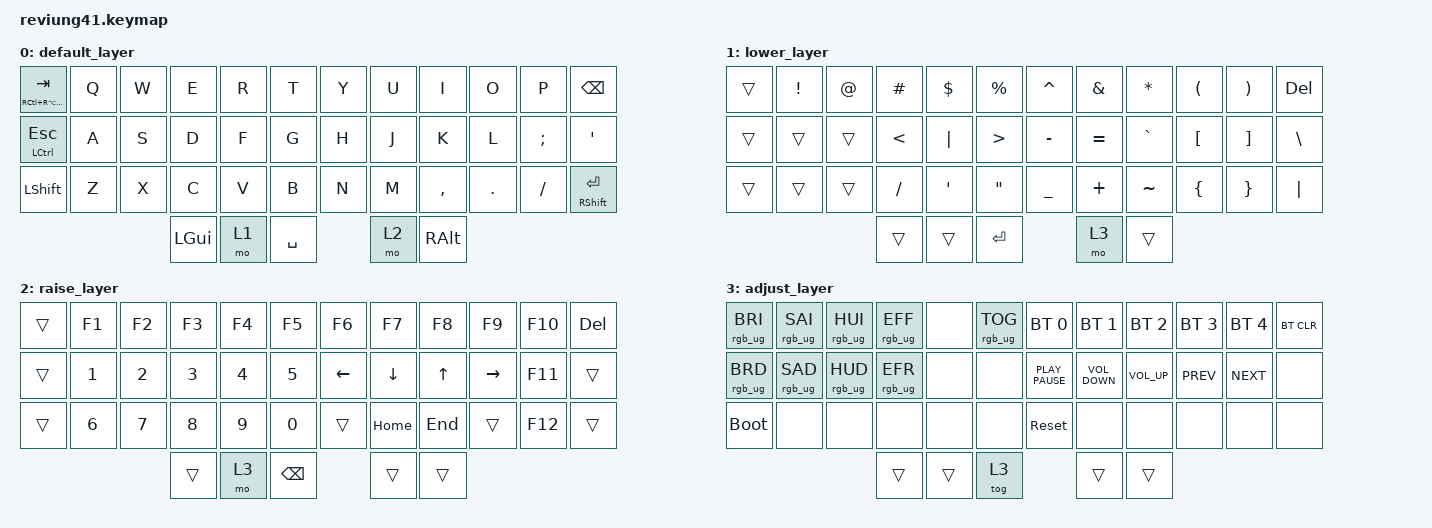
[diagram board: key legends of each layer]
/*
 * Copyright (c) 2020 The ZMK Contributors
 *
 * SPDX-License-Identifier: MIT
 */

#include <behaviors.dtsi>
#include <dt-bindings/zmk/bt.h>
#include <dt-bindings/zmk/keys.h>
#include <dt-bindings/zmk/keys.h>
#include <dt-bindings/zmk/rgb.h>

#define RHYP        RC(RA(RGUI))

/ {
    keymap {
        compatible = "zmk,keymap";

        default_layer {
            // ------------------------------------------------------------------------------------------
            // | TAB(HYP)  |  Q  |  W  |  E  |  R  |  T  |   |  Y  |  U   |  I  |  O  |  P  |   BKSP    |
            // | CTRL(ESC) |  A  |  S  |  D  |  F  |  G  |   |  H  |  J   |  K  |  L  |  ;  |    '      |
            // |   SHFT    |  Z  |  X  |  C  |  V  |  B  |   |  N  |  M   |  ,  |  .  |  /  | SHFT(RET) |
            //                             | LGUI | LWR | SPC | RSE  | ALT |

            bindings = <
&mt RHYP TAB      &kp Q  &kp W     &kp E  &kp R  &kp T             &kp Y  &kp U      &kp I    &kp O     &kp P       &kp BSPC
&mt LCTRL ESCAPE  &kp A  &kp S     &kp D  &kp F  &kp G             &kp H  &kp J      &kp K    &kp L  &kp SEMI        &kp SQT
       &kp LSHFT  &kp Z  &kp X     &kp C  &kp V  &kp B             &kp N  &kp M  &kp COMMA  &kp DOT  &kp FSLH  &mt RSHFT RET
                                &kp LGUI  &mo 1         &kp SPACE         &mo 2   &kp RALT
            >;
        };

        lower_layer {
            // ----------------------------------------------------------------------------
            // |    |  !  |  @  |  #  |  $  |  %  |   |  ^  |  &  |  *  |  (  |  )  | DEL |
            // |    |     |     |  <  | "|" |  >  |   |  -  |  =  |  `  |  [  |  ]  |  \  |
            // |    |     |     |  /  |  '  |  "  |   |  _  |  +  |  ~  |  {  |  }  |  |  |
            //                       |     |     | RET | ADJ |     |

            bindings = <
&trans  &kp EXCL  &kp AT   &kp HASH          &kp DLLR          &kp PRCNT           &kp CARET   &kp AMPS  &kp ASTRK          &kp LPAR           &kp RPAR   &kp DEL
&trans    &trans  &trans     &kp LT          &kp PIPE             &kp GT           &kp MINUS  &kp EQUAL  &kp GRAVE  &kp LEFT_BRACKET  &kp RIGHT_BRACKET  &kp BSLH
&trans    &trans  &trans  &kp SLASH  &kp SINGLE_QUOTE  &kp DOUBLE_QUOTES           &kp UNDER   &kp PLUS  &kp TILDE    &kp LEFT_BRACE    &kp RIGHT_BRACE  &kp PIPE
                             &trans            &trans                     &kp RET                 &mo 3     &trans
            >;
        };

        raise_layer {
            // ----------------------------------------------------------------------------
            // |    |  F1 |  F2 |  F3 |  F4 | F5  |   | F6  |  F7 |  F8 |  F9 | F10 | DEL |
            // |    |  1  |  2  |  3  |  4  |  5  |   | LFT | DWN | UP  | RGT | F11 |     |
            // |    |  6  |  7  |  8  |  9  |  0  |   |     | HOME| END |     | F12 |     |
            //                       |     | ADJ | BKSP |    |     |

            bindings = <
&trans        &kp F1        &kp F2        &kp F3        &kp F4        &kp F5              &kp F6    &kp F7    &kp F8     &kp F9  &kp F10  &kp DEL
&trans  &kp NUMBER_1  &kp NUMBER_2  &kp NUMBER_3  &kp NUMBER_4  &kp NUMBER_5            &kp LEFT  &kp DOWN    &kp UP  &kp RIGHT  &kp F11   &trans
&trans  &kp NUMBER_6  &kp NUMBER_7  &kp NUMBER_8  &kp NUMBER_9  &kp NUMBER_0              &trans  &kp HOME   &kp END     &trans  &kp F12   &trans
                                          &trans         &mo 3                &kp BSPC              &trans    &trans
            >;
        };

        adjust_layer {
            // -----------------------------------------------------------------------------------------
            // | RGB BRI+   | RGB SAT+ | RGB HUE+ | RGB ANI+ |    | RGB TOG |   |  BT1  | BT2 | BT3 | BT4 | BT5 | BT CLR |
            // | RGB BRI-   | RGB SAT- | RGB HUE- | RGB ANI- |    |         |   |  =/|> | VOL-| VOL+| PREV| NXT |        |
            // | BOOT RESET |          |          |          |    |         |   | RESET |     |     |     |     |        |
            //                                              |     |     |     |     |     |

            bindings = <
&rgb_ug RGB_BRI  &rgb_ug RGB_SAI  &rgb_ug RGB_HUI  &rgb_ug RGB_EFF   &none  &rgb_ug RGB_TOG              &bt BT_SEL 0       &bt BT_SEL 1     &bt BT_SEL 2  &bt BT_SEL 3  &bt BT_SEL 4  &bt BT_CLR
&rgb_ug RGB_BRD  &rgb_ug RGB_SAD  &rgb_ug RGB_HUD  &rgb_ug RGB_EFR   &none            &none          &kp K_PLAY_PAUSE  &kp C_VOLUME_DOWN  &kp C_VOLUME_UP    &kp C_PREV    &kp C_NEXT       &none
    &bootloader            &none            &none            &none   &none            &none                &sys_reset              &none            &none         &none         &none       &none
                                                            &trans  &trans                   &tog 3                               &trans           &trans
            >;
        };
    };
};
